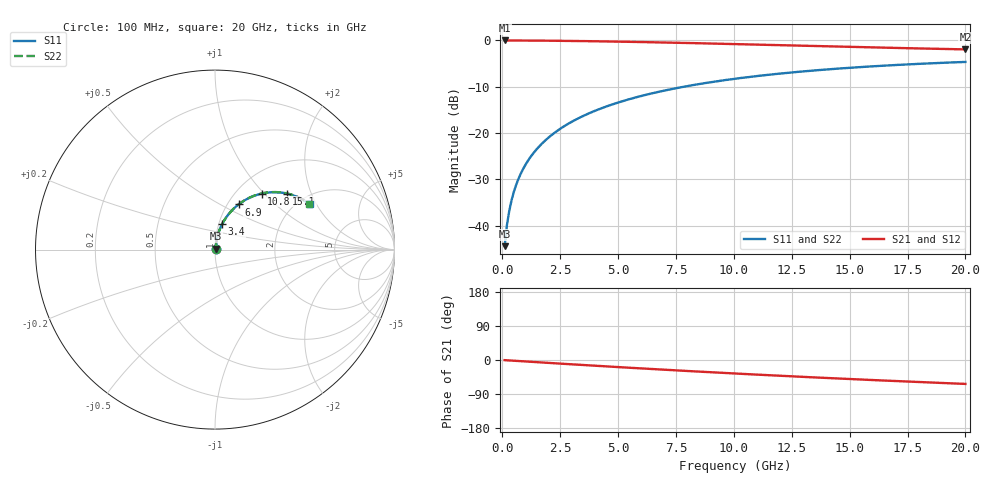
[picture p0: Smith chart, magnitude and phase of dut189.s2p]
! Touchstone file exported from HFSS 2026.1.0
!  File:  C:/ffzhzh/LocalFiles/Ansys_Project_Files/temp_train_TMRDL_189_1782983785_42984.aedt
!  Generated:  05:17:51 PM Jul  2, 2026
!  Design:  TMRDL
!  Project:  temp_train_TMRDL_189_1782983785_42984
! Variables:
!  h_bsmrdl = 2um
!  h_ox = 20um
!  h_rdl = 5um
!  h_sub = 80um
!  h_tmrdl = 5.58um
!  h_tsv = 80um
!  h_via = 3um
!  l_bsmrdl = 300um
!  l_sub = 1374.1um
!  l_tmrdl = 974.1um
!  m_sub = 200um
!  pitch = 55.77um
!  r_tsv = 6um
!  s_tmrdl = 10um
!  w_bsmrdl = 18um
!  w_sub = 500um
!  w_tmrdl = 16.78um
!  x_tsv_center1 = 982.49um
!  x_tsv_center2 = 1300.49um
!  x_tsv_center3 = 2291.37um
!  x_tsv_center4 = 2609.37um
!  x_tsv_center5 = 3600.25um
!  x_tsv_center6 = 3918.25um
# GHz S MA R 50.000000
! Terminal data exported
! Port[1] = TM_RDL1_1_T1
! Port[2] = TM_RDL1_1_T2
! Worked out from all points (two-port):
!   200 points, 100 MHz to 20 GHz, reference 50 ohm
!   highest |S21| = -0.03 dB at 100 MHz (marker M1); lowest = -2.0 dB at 20 GHz (marker M2)
!   |S21| within 3 dB of the highest: start of sweep to end of sweep
!   lowest |S11| = -44.4 dB at 100 MHz (marker M3), VSWR 1.01, Z = 50.4 + j0.473 ohm
!   |S11| at or under -10 dB: start of sweep to 7.851 GHz
!   |S22| runs from -44.4 to -4.7 dB; largest |S21 - S12| = 7.2e-15
!   S11 on the Smith chart (normalised r, x): 100 MHz: 1.01, +0.01; 3.4 GHz: 1.04, +0.30; 6.9 GHz: 1.12, +0.61; 10.8 GHz: 1.29, +0.97; 15.1 GHz: 1.62, +1.36; 20 GHz: 2.29, +1.76
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0.1  0.006037 51.1  0.9962 -0.4  0.9962 -0.4  0.006037 51.1
! Gamma 0 0 0 0
! Port Impedance 50 0 50 0
0.2  0.01014 66.5  0.996 -0.8  0.996 -0.8  0.01014 66.5
0.3  0.01449 72.6  0.9958 -1.2  0.9958 -1.2  0.01449 72.6
0.4  0.01888 75.6  0.9957 -1.6  0.9957 -1.6  0.01888 75.6
0.5  0.02329 77.5  0.9955 -1.9  0.9955 -1.9  0.02329 77.5
0.7  0.03216 79.3  0.995 -2.7  0.995 -2.7  0.03216 79.3
1  0.04549 80.2  0.9943 -3.9  0.9943 -3.9  0.04549 80.2
1.4  0.06322 80.0  0.993 -5.4  0.993 -5.4  0.06322 80.0
2  0.08956 78.7  0.9903 -7.7  0.9903 -7.7  0.08956 78.7
2.6  0.1155 76.9  0.987 -9.9  0.987 -9.9  0.1155 76.9
3.4  0.1491 74.2  0.9815 -12.9  0.9815 -12.9  0.1491 74.3
3.5  0.1533 73.9  0.9807 -13.3  0.9807 -13.3  0.1533 73.9
5  0.2133 68.8  0.9678 -18.7  0.9678 -18.7  0.2133 68.9
6.8  0.28 62.8  0.9493 -25.0  0.9493 -25.0  0.28 62.9
6.9  0.2836 62.5  0.9482 -25.3  0.9482 -25.3  0.2836 62.5
8.4  0.3343 57.6  0.9308 -30.3  0.9308 -30.3  0.3343 57.7
10.1  0.3864 52.3  0.91 -35.8  0.91 -35.8  0.3864 52.4
10.8  0.4062 50.2  0.9012 -38.0  0.9012 -38.0  0.4062 50.3
13.4  0.4715 42.6  0.8688 -45.7  0.8688 -45.7  0.4715 42.8
15.1  0.5074 38.0  0.8485 -50.5  0.8485 -50.5  0.5074 38.1
16.7  0.5367 33.8  0.8306 -54.8  0.8306 -54.8  0.5367 34.0
20  0.5847 25.6  0.7982 -63.1  0.7982 -63.1  0.5847 25.8
